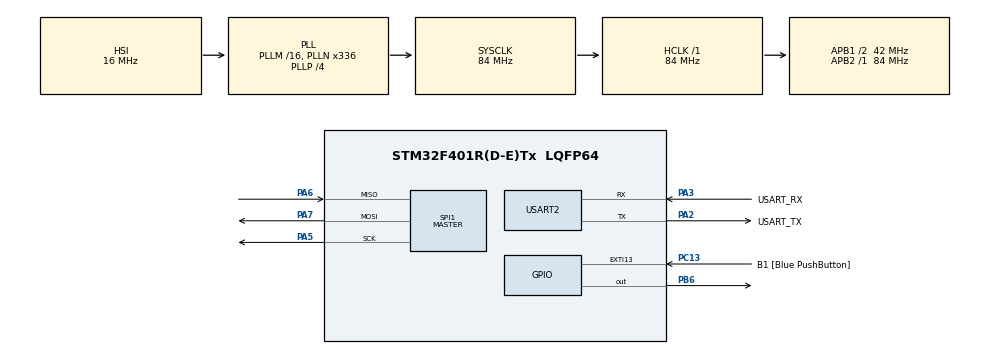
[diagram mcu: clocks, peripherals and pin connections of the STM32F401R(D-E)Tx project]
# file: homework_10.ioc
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Dma.Request0=SPI1_TX
Dma.SPI1_TX.0.Direction=DMA_MEMORY_TO_PERIPH
Dma.SPI1_TX.0.FIFOMode=DMA_FIFOMODE_DISABLE
Dma.SPI1_TX.0.Instance=DMA2_Stream3
Dma.SPI1_TX.0.MemDataAlignment=DMA_MDATAALIGN_BYTE
Dma.SPI1_TX.0.MemInc=DMA_MINC_ENABLE
Dma.SPI1_TX.0.Mode=DMA_NORMAL
Dma.SPI1_TX.0.PeriphDataAlignment=DMA_PDATAALIGN_BYTE
Dma.SPI1_TX.0.PeriphInc=DMA_PINC_DISABLE
Dma.SPI1_TX.0.Priority=DMA_PRIORITY_LOW
Mcu.Family=STM32F4
Mcu.Name=STM32F401R(D-E)Tx
Mcu.Package=LQFP64
NVIC.DMA2_Stream3_IRQn=true\:0\:0\:false\:false\:true\:false\:true\:true
NVIC.PriorityGroup=NVIC_PRIORITYGROUP_4
NVIC.SPI1_IRQn=true\:0\:0\:false\:false\:true\:true\:true\:true
NVIC.TIM1_UP_TIM10_IRQn=true\:0\:0\:false\:false\:true\:true\:true\:true
NVIC.TIM2_IRQn=true\:0\:0\:false\:false\:true\:true\:true\:true
PA13.GPIO_Label=TMS
PA13.Mode=Trace_Asynchronous_SW
PA13.Signal=SYS_JTMS-SWDIO
PA14.GPIO_Label=TCK
PA14.Mode=Trace_Asynchronous_SW
PA14.Signal=SYS_JTCK-SWCLK
PA2.GPIO_Label=USART_TX
PA2.GPIO_Mode=GPIO_MODE_AF_PP
PA2.GPIO_PuPd=GPIO_NOPULL
PA2.GPIO_Speed=GPIO_SPEED_FREQ_LOW
PA2.Mode=Asynchronous
PA2.Signal=USART2_TX
PA3.GPIO_Label=USART_RX
PA3.GPIO_Mode=GPIO_MODE_AF_PP
PA3.GPIO_PuPd=GPIO_NOPULL
PA3.GPIO_Speed=GPIO_SPEED_FREQ_LOW
PA3.Mode=Asynchronous
PA3.Signal=USART2_RX
PA5.Mode=Full_Duplex_Master
PA5.Signal=SPI1_SCK
PA6.Mode=Full_Duplex_Master
PA6.Signal=SPI1_MISO
PA7.Mode=Full_Duplex_Master
PA7.Signal=SPI1_MOSI
PB3.GPIO_Label=SWO
PB3.Mode=Trace_Asynchronous_SW
PB3.Signal=SYS_JTDO-SWO
PB6.Signal=GPIO_Output
PC13-ANTI_TAMP.GPIO_Label=B1 [Blue PushButton]
PC13-ANTI_TAMP.GPIO_ModeDefaultEXTI=GPIO_MODE_IT_FALLING
PC13-ANTI_TAMP.GPIO_PuPd=GPIO_NOPULL
PC13-ANTI_TAMP.Signal=GPXTI13
PC14-OSC32_IN.Mode=LSE-External-Oscillator
PC14-OSC32_IN.Signal=RCC_OSC32_IN
PC15-OSC32_OUT.Mode=LSE-External-Oscillator
PC15-OSC32_OUT.Signal=RCC_OSC32_OUT
PH0\ -\ OSC_IN.Mode=HSE-External-Clock-Source
PH0\ -\ OSC_IN.Signal=RCC_OSC_IN
PH1\ -\ OSC_OUT.Mode=HSE-External-Clock-Source
PH1\ -\ OSC_OUT.Signal=RCC_OSC_OUT
ProjectManager.HeapSize=0x200
ProjectManager.StackSize=0x400
ProjectManager.TargetToolchain=CMake
RCC.48MHZClocksFreq_Value=48000000
RCC.AHBFreq_Value=84000000
RCC.APB1CLKDivider=RCC_HCLK_DIV2
RCC.APB1Freq_Value=42000000
RCC.APB1TimFreq_Value=84000000
RCC.APB2Freq_Value=84000000
RCC.APB2TimFreq_Value=84000000
RCC.CortexFreq_Value=84000000
RCC.HCLKFreq_Value=84000000
RCC.HSE_VALUE=8000000
RCC.HSI_VALUE=16000000
RCC.PLLN=336
RCC.PLLP=RCC_PLLP_DIV4
RCC.PLLQ=7
RCC.SYSCLKFreq_VALUE=84000000
RCC.SYSCLKSource=RCC_SYSCLKSOURCE_PLLCLK
RCC.VCOOutputFreq_Value=336000000
SPI1.BaudRatePrescaler=SPI_BAUDRATEPRESCALER_4
SPI1.Direction=SPI_DIRECTION_2LINES
SPI1.Mode=SPI_MODE_MASTER
SPI1.VirtualType=VM_MASTER
TIM1.Period=10000-1
TIM1.Prescaler=8400-1
TIM2.Period=4000-1
TIM2.Prescaler=84-1
USART2.VirtualMode=VM_ASYNC
VP_TIM1_VS_ClockSourceINT.Mode=Internal
VP_TIM2_VS_ClockSourceINT.Mode=Internal
board=NUCLEO-F401RE

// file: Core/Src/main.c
/* USER CODE BEGIN Header */
/**
  ******************************************************************************
  * @file           : main.c
  * @brief          : Main program body
  ******************************************************************************
  * @attention
  *
  * Copyright (c) 2026 STMicroelectronics.
  * All rights reserved.
  *
  * This software is licensed under terms that can be found in the LICENSE file
  * in the root directory of this software component.
  * If no LICENSE file comes with this software, it is provided AS-IS.
  *
  ******************************************************************************
  */
/* USER CODE END Header */
#include "main.h"

/* USER CODE BEGIN Includes */
#include "stdio.h"
/* USER CODE END Includes */

/* USER CODE BEGIN PD */
#define LETTER_G {62, 65, 65, 69, 38}
#define LETTER_R {127, 72, 72, 76, 51}
#define LETTER_O {62, 65, 65, 65, 62}
#define LETTER_U {126, 1, 1, 1, 126}
#define LETTER_P {127, 72, 72, 72, 48}
#define LETTER_A {31, 36, 68, 36, 31}
#define NUMBER_1 {33, 65, 127, 1, 1}
#define NUMBER_0 {62, 113, 73, 71, 62}
#define SIMBOL_SMILE {6, 113, 1, 113, 6}

#define SIZE 5
#define LENGTH 9
/* USER CODE END PD */

SPI_HandleTypeDef hspi1;
DMA_HandleTypeDef hdma_spi1_tx;

TIM_HandleTypeDef htim1;
TIM_HandleTypeDef htim2;

UART_HandleTypeDef huart2;

/* USER CODE BEGIN PV */
const uint8_t character[LENGTH][SIZE] = {
  LETTER_G,
  LETTER_R,
  LETTER_O,
  LETTER_U,
  LETTER_P,
  LETTER_A,
  NUMBER_1,
  NUMBER_0,
  SIMBOL_SMILE
};

const uint8_t column[SIZE] = {16, 8, 4, 2, 1};
uint8_t buffer[2];
volatile uint8_t phrase_index = 0;
volatile uint8_t column_index = 0;
/* USER CODE END PV */

void SystemClock_Config(void);
static void MX_GPIO_Init(void);
static void MX_DMA_Init(void);
static void MX_SPI1_Init(void);
static void MX_USART2_UART_Init(void);
static void MX_TIM1_Init(void);
static void MX_TIM2_Init(void);

int main(void)
{

  /* MCU Configuration--------------------------------------------------------*/

  /* Reset of all peripherals, Initializes the Flash interface and the Systick. */
  HAL_Init();

  /* Configure the system clock */
  SystemClock_Config();

  /* Initialize all configured peripherals */
  MX_GPIO_Init();
  MX_DMA_Init();
  MX_SPI1_Init();
  MX_USART2_UART_Init();
  MX_TIM1_Init();
  MX_TIM2_Init();
  /* USER CODE BEGIN 2 */
  HAL_GPIO_WritePin(GPIOB, GPIO_PIN_6, GPIO_PIN_RESET);
  HAL_TIM_Base_Start_IT(&htim2);
  HAL_TIM_Base_Start_IT(&htim1);
  /* USER CODE END 2 */

  /* Infinite loop */
  while (1)
  {

  }
}

void SystemClock_Config(void)
{
  RCC_OscInitTypeDef RCC_OscInitStruct = {0};
  RCC_ClkInitTypeDef RCC_ClkInitStruct = {0};

  /** Configure the main internal regulator output voltage
  */
  __HAL_RCC_PWR_CLK_ENABLE();
  __HAL_PWR_VOLTAGESCALING_CONFIG(PWR_REGULATOR_VOLTAGE_SCALE2);

  /** Initializes the RCC Oscillators according to the specified parameters
  * in the RCC_OscInitTypeDef structure.
  */
  RCC_OscInitStruct.OscillatorType = RCC_OSCILLATORTYPE_HSI;
  RCC_OscInitStruct.HSIState = RCC_HSI_ON;
  RCC_OscInitStruct.HSICalibrationValue = RCC_HSICALIBRATION_DEFAULT;
  RCC_OscInitStruct.PLL.PLLState = RCC_PLL_ON;
  RCC_OscInitStruct.PLL.PLLSource = RCC_PLLSOURCE_HSI;
  RCC_OscInitStruct.PLL.PLLM = 16;
  RCC_OscInitStruct.PLL.PLLN = 336;
  RCC_OscInitStruct.PLL.PLLP = RCC_PLLP_DIV4;
  RCC_OscInitStruct.PLL.PLLQ = 7;
  if (HAL_RCC_OscConfig(&RCC_OscInitStruct) != HAL_OK)
  {
    Error_Handler();
  }

  /** Initializes the CPU, AHB and APB buses clocks
  */
  RCC_ClkInitStruct.ClockType = RCC_CLOCKTYPE_HCLK|RCC_CLOCKTYPE_SYSCLK
                              |RCC_CLOCKTYPE_PCLK1|RCC_CLOCKTYPE_PCLK2;
  RCC_ClkInitStruct.SYSCLKSource = RCC_SYSCLKSOURCE_PLLCLK;
  RCC_ClkInitStruct.AHBCLKDivider = RCC_SYSCLK_DIV1;
  RCC_ClkInitStruct.APB1CLKDivider = RCC_HCLK_DIV2;
  RCC_ClkInitStruct.APB2CLKDivider = RCC_HCLK_DIV1;

  if (HAL_RCC_ClockConfig(&RCC_ClkInitStruct, FLASH_LATENCY_2) != HAL_OK)
  {
    Error_Handler();
  }
}

static void MX_SPI1_Init(void)
{

  /* SPI1 parameter configuration*/
  hspi1.Instance = SPI1;
  hspi1.Init.Mode = SPI_MODE_MASTER;
  hspi1.Init.Direction = SPI_DIRECTION_2LINES;
  hspi1.Init.DataSize = SPI_DATASIZE_8BIT;
  hspi1.Init.CLKPolarity = SPI_POLARITY_LOW;
  hspi1.Init.CLKPhase = SPI_PHASE_1EDGE;
  hspi1.Init.NSS = SPI_NSS_SOFT;
  hspi1.Init.BaudRatePrescaler = SPI_BAUDRATEPRESCALER_4;
  hspi1.Init.FirstBit = SPI_FIRSTBIT_MSB;
  hspi1.Init.TIMode = SPI_TIMODE_DISABLE;
  hspi1.Init.CRCCalculation = SPI_CRCCALCULATION_DISABLE;
  hspi1.Init.CRCPolynomial = 10;
  if (HAL_SPI_Init(&hspi1) != HAL_OK)
  {
    Error_Handler();
  }

}

static void MX_TIM1_Init(void)
{

  TIM_ClockConfigTypeDef sClockSourceConfig = {0};
  TIM_MasterConfigTypeDef sMasterConfig = {0};

  htim1.Instance = TIM1;
  htim1.Init.Prescaler = 8400-1;
  htim1.Init.CounterMode = TIM_COUNTERMODE_UP;
  htim1.Init.Period = 10000-1;
  htim1.Init.ClockDivision = TIM_CLOCKDIVISION_DIV1;
  htim1.Init.RepetitionCounter = 0;
  htim1.Init.AutoReloadPreload = TIM_AUTORELOAD_PRELOAD_DISABLE;
  if (HAL_TIM_Base_Init(&htim1) != HAL_OK)
  {
    Error_Handler();
  }
  sClockSourceConfig.ClockSource = TIM_CLOCKSOURCE_INTERNAL;
  if (HAL_TIM_ConfigClockSource(&htim1, &sClockSourceConfig) != HAL_OK)
  {
    Error_Handler();
  }
  sMasterConfig.MasterOutputTrigger = TIM_TRGO_RESET;
  sMasterConfig.MasterSlaveMode = TIM_MASTERSLAVEMODE_DISABLE;
  if (HAL_TIMEx_MasterConfigSynchronization(&htim1, &sMasterConfig) != HAL_OK)
  {
    Error_Handler();
  }

}

static void MX_TIM2_Init(void)
{

  TIM_ClockConfigTypeDef sClockSourceConfig = {0};
  TIM_MasterConfigTypeDef sMasterConfig = {0};

  htim2.Instance = TIM2;
  htim2.Init.Prescaler = 84-1;
  htim2.Init.CounterMode = TIM_COUNTERMODE_UP;
  htim2.Init.Period = 4000-1;
  htim2.Init.ClockDivision = TIM_CLOCKDIVISION_DIV1;
  htim2.Init.AutoReloadPreload = TIM_AUTORELOAD_PRELOAD_DISABLE;
  if (HAL_TIM_Base_Init(&htim2) != HAL_OK)
  {
    Error_Handler();
  }
  sClockSourceConfig.ClockSource = TIM_CLOCKSOURCE_INTERNAL;
  if (HAL_TIM_ConfigClockSource(&htim2, &sClockSourceConfig) != HAL_OK)
  {
    Error_Handler();
  }
  sMasterConfig.MasterOutputTrigger = TIM_TRGO_RESET;
  sMasterConfig.MasterSlaveMode = TIM_MASTERSLAVEMODE_DISABLE;
  if (HAL_TIMEx_MasterConfigSynchronization(&htim2, &sMasterConfig) != HAL_OK)
  {
    Error_Handler();
  }

}

static void MX_USART2_UART_Init(void)
{

  huart2.Instance = USART2;
  huart2.Init.BaudRate = 115200;
  huart2.Init.WordLength = UART_WORDLENGTH_8B;
  huart2.Init.StopBits = UART_STOPBITS_1;
  huart2.Init.Parity = UART_PARITY_NONE;
  huart2.Init.Mode = UART_MODE_TX_RX;
  huart2.Init.HwFlowCtl = UART_HWCONTROL_NONE;
  huart2.Init.OverSampling = UART_OVERSAMPLING_16;
  if (HAL_UART_Init(&huart2) != HAL_OK)
  {
    Error_Handler();
  }

}

static void MX_DMA_Init(void)
{

  /* DMA controller clock enable */
  __HAL_RCC_DMA2_CLK_ENABLE();

  /* DMA interrupt init */
  /* DMA2_Stream3_IRQn interrupt configuration */
  HAL_NVIC_SetPriority(DMA2_Stream3_IRQn, 0, 0);
  HAL_NVIC_EnableIRQ(DMA2_Stream3_IRQn);

}

static void MX_GPIO_Init(void)
{
  GPIO_InitTypeDef GPIO_InitStruct = {0};

  /* GPIO Ports Clock Enable */
  __HAL_RCC_GPIOC_CLK_ENABLE();
  __HAL_RCC_GPIOH_CLK_ENABLE();
  __HAL_RCC_GPIOA_CLK_ENABLE();
  __HAL_RCC_GPIOB_CLK_ENABLE();

  /*Configure GPIO pin Output Level */
  HAL_GPIO_WritePin(GPIOB, GPIO_PIN_6, GPIO_PIN_RESET);

  /*Configure GPIO pin : B1_Pin */
  GPIO_InitStruct.Pin = B1_Pin;
  GPIO_InitStruct.Mode = GPIO_MODE_IT_FALLING;
  GPIO_InitStruct.Pull = GPIO_NOPULL;
  HAL_GPIO_Init(B1_GPIO_Port, &GPIO_InitStruct);

  /*Configure GPIO pin : PB6 */
  GPIO_InitStruct.Pin = GPIO_PIN_6;
  GPIO_InitStruct.Mode = GPIO_MODE_OUTPUT_PP;
  GPIO_InitStruct.Pull = GPIO_NOPULL;
  GPIO_InitStruct.Speed = GPIO_SPEED_FREQ_LOW;
  HAL_GPIO_Init(GPIOB, &GPIO_InitStruct);

}

/* USER CODE BEGIN 4 */
void HAL_TIM_PeriodElapsedCallback(TIM_HandleTypeDef *htim)
{
  if(htim == &htim1)
  {
    if(phrase_index < LENGTH)
    {
      phrase_index ++;
    } else {
      phrase_index = 0;
    }
  }

  if(htim == &htim2)
  {
    if(phrase_index < LENGTH)
    {
      buffer[0] = character[phrase_index][column_index];
      buffer[1] = column[column_index];
    } else {
      buffer[0] = 0;
      buffer[1] = 0;
    }

    HAL_SPI_Transmit_DMA(&hspi1, buffer, 2);

    column_index = (column_index + 1) % SIZE;
  }
}

void HAL_SPI_TxCpltCallback(SPI_HandleTypeDef *hspi)
{
  if(hspi == &hspi1)
  {
    HAL_GPIO_WritePin(GPIOB, GPIO_PIN_6, GPIO_PIN_SET);
    HAL_GPIO_WritePin(GPIOB, GPIO_PIN_6, GPIO_PIN_RESET);
  }
}
/* USER CODE END 4 */

void Error_Handler(void)
{
  __disable_irq();
  while (1)
  {
  }
}
